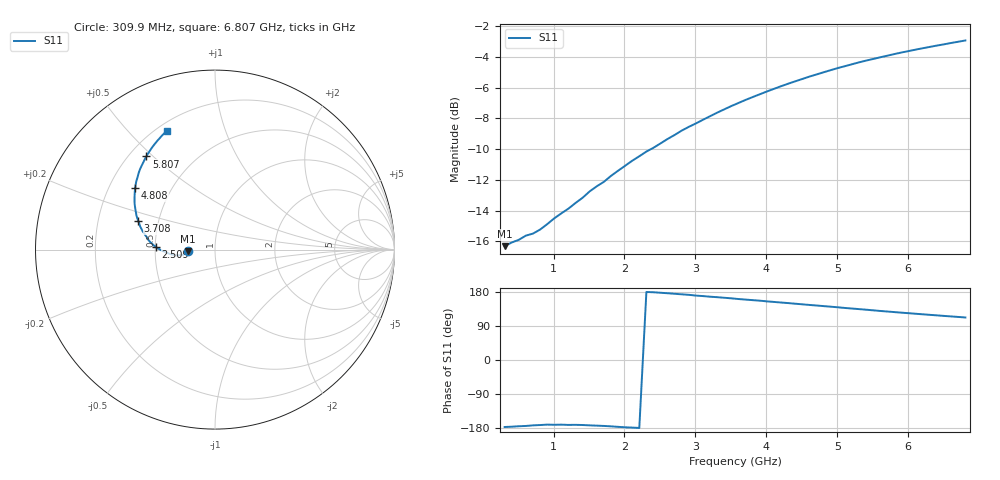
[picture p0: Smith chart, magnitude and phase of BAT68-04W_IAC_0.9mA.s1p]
! Infineon Technologies  Discrete & RF Semiconductors
! BAT68-04W
! IAC = 0.9 mA
! One-Port S-Parameters
# Hz  S  MA  R  50
!f  S11
!Hz  Mag  Ang
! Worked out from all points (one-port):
!   66 points, 309.9 MHz to 6.807 GHz, reference 50 ohm
!   lowest |S11| = -16.3 dB at 309.9 MHz (marker M1), VSWR 1.36, Z = 36.7 - j0.644 ohm
!   |S11| at or under -10 dB: start of sweep to 2.371 GHz
!   S11 on the Smith chart (normalised r, x): 309.9 MHz: 0.73, -0.01; 2.509 GHz: 0.50, +0.02; 3.708 GHz: 0.38, +0.16; 4.808 GHz: 0.31, +0.31; 5.807 GHz: 0.27, +0.48; 6.807 GHz: 0.24, +0.65
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3.0985e8  0.153 -176.8
6.097e8  0.1656 -174.1
7.0965e8  0.1681 -172.5
8.096e8  0.1733 -171.7
9.0955e8  0.1804 -170.5
1.2094e9  0.2027 -171.3
1.4093e9  0.2198 -171.6
1.6092e9  0.2396 -173.2
1.70915e9  0.2476 -174.0
2.009e9  0.2793 -177.5
2.30885e9  0.3107 179.5
2.4088e9  0.3196 178.8
2.50875e9  0.3303 177.4
2.8086e9  0.3637 173.3
3.30835e9  0.4159 165.7
3.6082e9  0.4471 160.9
3.70815e9  0.4574 159.4
3.90805e9  0.4771 156.5
4.10795e9  0.4968 153.2
4.4078e9  0.5257 148.5
4.8076e9  0.5624 142.2
5.0075e9  0.5804 139.1
5.2074e9  0.5972 135.8
5.4073e9  0.6139 132.7
5.8071e9  0.6446 126.4
6.007e9  0.6591 123.5
6.4068e9  0.6869 117.8
6.8066e9  0.7136 112.2
